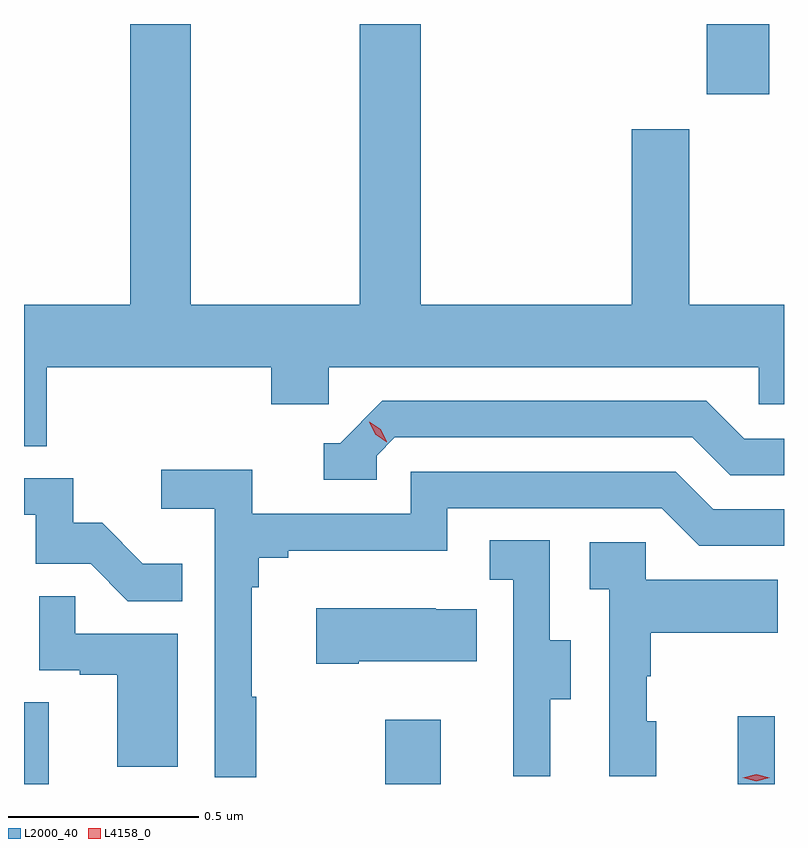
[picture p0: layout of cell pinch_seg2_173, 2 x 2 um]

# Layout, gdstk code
import gdstk
lib = gdstk.Library(unit=1e-6, precision=1e-09)
def R(c, l, rs):  # rectangles x0, y0, x1, y1
    for r in rs: c.add(gdstk.rectangle(r[:2], r[2:], *l))
def P(c, l, *ps):  # polygons
    for p in ps: c.add(gdstk.Polygon(p, *l))
L2000_40 = (2000, 40)
L4158_0 = (4158, 0)

pinch_seg2_173 = lib.new_cell('pinch_seg2_173')
R(pinch_seg2_173, L2000_40, [(1097.72,627.891,1097.785,628.106), (1098.67,627.891,1098.817,628.06), (1099.598,627.891,1099.695,628.069), (1099.517,629.706,1099.681,629.891)])
P(pinch_seg2_173, L2000_40, [(1099.471,629.614),(1099.319,629.614),(1099.319,629.152),(1098.764,629.152),(1098.764,629.891),(1098.604,629.891),(1098.604,629.152),(1098.159,629.152),(1098.159,629.891),(1097.999,629.891),(1097.999,629.152),(1097.72,629.152),(1097.72,628.78),(1097.78,628.78),(1097.78,628.988),(1098.371,628.988),(1098.371,628.89),(1098.522,628.89),(1098.522,628.988),(1099.653,628.988),(1099.653,628.89),(1099.72,628.89),(1099.72,629.152),(1099.471,629.152)],
  [(1098.648,628.755),(1098.696,628.803),(1099.479,628.803),(1099.578,628.704),(1099.72,628.704),(1099.72,628.8),(1099.615,628.8),(1099.516,628.899),(1098.663,628.899),(1098.552,628.788),(1098.509,628.788),(1098.509,628.692),(1098.648,628.692)],
  [(1098.331,628.121),(1098.319,628.121),(1098.319,628.409),(1098.338,628.409),(1098.338,628.486),(1098.415,628.486),(1098.415,628.505),(1098.834,628.505),(1098.834,628.617),(1099.398,628.617),(1099.497,628.518),(1099.72,628.518),(1099.72,628.614),(1099.534,628.614),(1099.435,628.713),(1098.738,628.713),(1098.738,628.602),(1098.32,628.602),(1098.32,628.718),(1098.081,628.718),(1098.081,628.616),(1098.222,628.616),(1098.222,627.909),(1098.331,627.909)],
  [(1098.137,628.471),(1098.033,628.471),(1097.926,628.578),(1097.85,628.578),(1097.85,628.695),(1097.72,628.695),(1097.72,628.599),(1097.751,628.599),(1097.751,628.47),(1097.895,628.47),(1097.993,628.372),(1098.137,628.372)],
  [(1099.105,628.114),(1099.159,628.114),(1099.159,628.269),(1099.104,628.269),(1099.104,628.532),(1098.945,628.532),(1098.945,628.429),(1099.008,628.429),(1099.008,628.125),(1099.007,628.125),(1099.007,627.912),(1099.105,627.912)],
  [(1099.384,628.056),(1099.359,628.056),(1099.359,628.175),(1099.369,628.175),(1099.369,628.289),(1099.703,628.289),(1099.703,628.429),(1099.356,628.429),(1099.356,628.527),(1099.209,628.527),(1099.209,628.403),(1099.26,628.403),(1099.26,627.912),(1099.384,627.912)],
  [(1098.124,628.287),(1097.855,628.287),(1097.855,628.385),(1097.76,628.385),(1097.76,628.191),(1097.867,628.191),(1097.867,628.179),(1097.966,628.179),(1097.966,627.936),(1098.124,627.936)],
  [(1098.601,628.214),(1098.911,628.214),(1098.911,628.351),(1098.803,628.351),(1098.803,628.354),(1098.489,628.354),(1098.489,628.207),(1098.601,628.207)])
P(pinch_seg2_173, L4158_0, [(1098.674,628.791),(1098.644,628.811),(1098.628,628.844),(1098.628,628.844),(1098.629,628.844),(1098.659,628.824),(1098.674,628.792),(1098.674,628.791)],
  [(1099.647,627.898),(1099.612,627.908),(1099.612,627.908),(1099.612,627.908),(1099.647,627.917),(1099.682,627.907),(1099.683,627.907),(1099.682,627.907)])

lib.write_gds('pinch_seg2_173.gds')
